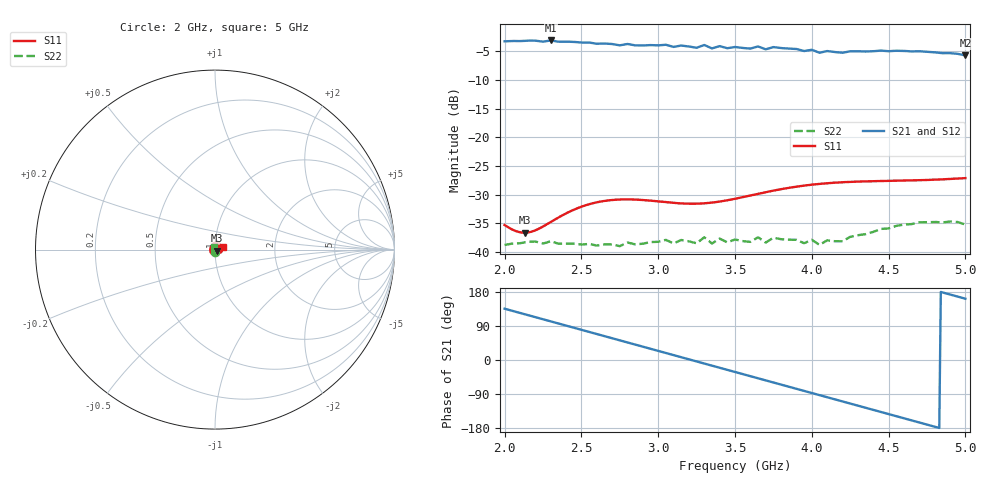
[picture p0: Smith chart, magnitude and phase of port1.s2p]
!Created with skrf (http://scikit-rf.org).
# MHz S RI R 50.0
!freq ReS11 ImS11 ReS21 ImS21 ReS12 ImS12 ReS22 ImS22
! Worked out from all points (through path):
!   301 points, 2 GHz to 5 GHz, reference 50 ohm
!   highest |S21| = -3.07 dB at 2.3 GHz (marker M1); lowest = -5.7 dB at 5 GHz (marker M2)
!   group delay of S21, straight-line fit = 309 ps
!   lowest |S11| = -36.7 dB at 2.13 GHz (marker M3), VSWR 1.03, Z = 51.3 - j0.664 ohm
!   |S11| at or under -10 dB: start of sweep to end of sweep
!   |S22| runs from -39.0 to -34.7 dB; largest |S21 - S12| = 0
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2000  0.0167 0.00364  -0.4908 0.4848  -0.4908 0.4848  -0.00174 -0.0113
2130  0.0132 -0.00647  -0.3574 0.5983  -0.3574 0.5983  -0.00557 -0.0107
2300  0.00563 -0.0173  -0.1448 0.6868  -0.1448 0.6868  -0.00982 -0.00752
2500  -0.00522 -0.0242  0.1212 0.6618  0.1212 0.6618  -0.0114 -0.00183
2800  -0.0197 -0.0209  0.4523 0.4722  0.4523 0.4722  -0.00931 0.00765
3000  -0.0252 -0.0112  0.5811 0.2586  0.5811 0.2586  -0.00279 0.0119
3150  -0.0264 -0.0018  0.629 0.0807  0.629 0.0807  0.00364 0.0121
3250  -0.0259 0.00486  0.6045 -0.0402  0.6045 -0.0402  0.00714 0.00947
3300  -0.0252 0.00819  0.6323 -0.1042  0.6323 -0.1042  0.00983 0.00909
3350  -0.0243 0.0115  0.5781 -0.1539  0.5781 -0.1539  0.00994 0.00635
3500  -0.0204 0.0207  0.5243 -0.3223  0.5243 -0.3223  0.0128 0.000508
3600  -0.0168 0.0261  0.4383 -0.4043  0.4383 -0.4043  0.0117 -0.00364
3650  -0.0149 0.0285  0.4143 -0.4641  0.4143 -0.4641  0.0119 -0.00608
3700  -0.0128 0.0306  0.347 -0.474  0.347 -0.474  0.00969 -0.00714
3750  -0.0106 0.0326  0.3131 -0.5283  0.3131 -0.5283  0.00927 -0.00949
3950  -0.00101 0.0378  0.0833 -0.5612  0.0833 -0.5612  0.00195 -0.0117
4000  0.00147 0.0385  0.0293 -0.5814  0.0293 -0.5814  0.000246 -0.0127
4050  0.00396 0.039  -0.0255 -0.5476  -0.0255 -0.5476  -0.0014 -0.0114
4250  0.0138 0.0384  -0.2375 -0.512  -0.2375 -0.512  -0.00844 -0.0105
4500  0.0252 0.0331  -0.4496 -0.3429  -0.4496 -0.3429  -0.0156 -0.00325
4730  0.034 0.0251  -0.5492 -0.1144  -0.5492 -0.1144  -0.0163 0.00796
5000  0.0419 0.0135  -0.493 0.1627  -0.493 0.1627  -0.00556 0.0164
